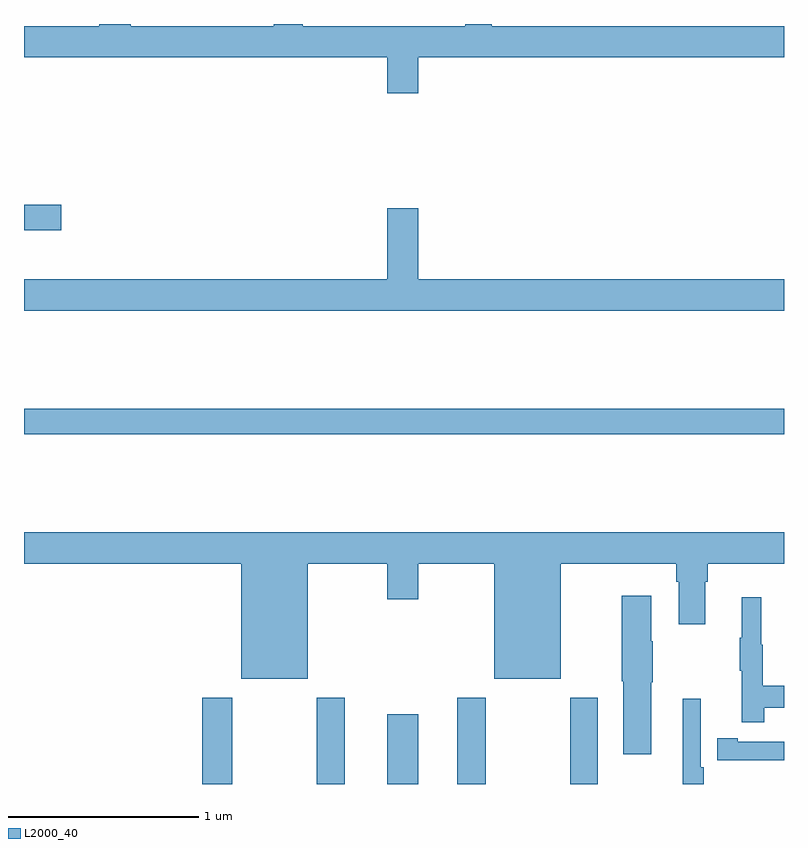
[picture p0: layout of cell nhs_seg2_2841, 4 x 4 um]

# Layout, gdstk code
import gdstk
lib = gdstk.Library(unit=1e-6, precision=1e-09)
def R(c, l, rs):  # rectangles x0, y0, x1, y1
    for r in rs: c.add(gdstk.rectangle(r[:2], r[2:], *l))
def P(c, l, *ps):  # polygons
    for p in ps: c.add(gdstk.Polygon(p, *l))
L2000_40 = (2000, 40)

nhs_seg2_2841 = lib.new_cell('nhs_seg2_2841')
R(nhs_seg2_2841, L2000_40, [(259.937,655.8,260.097,656.254), (260.541,655.8,260.689,656.254), (260.912,655.8,261.076,656.167), (261.281,655.8,261.429,656.254), (261.874,655.8,262.021,656.254), (259,657.64,263,657.776), (259,658.715,259.195,658.85)])
P(nhs_seg2_2841, L2000_40, [(261.076,659.624),(263,659.624),(263,659.788),(261.462,659.788),(261.462,659.8),(261.323,659.8),(261.323,659.788),(260.467,659.788),(260.467,659.8),(260.315,659.8),(260.315,659.788),(259.562,659.788),(259.562,659.8),(259.397,659.8),(259.397,659.788),(259,659.788),(259,659.624),(260.912,659.624),(260.912,659.436),(261.076,659.436)],
  [(263,658.456),(261.076,658.456),(261.076,658.831),(260.912,658.831),(260.912,658.456),(259,658.456),(259,658.292),(263,658.292)],
  [(260.494,656.96),(260.912,656.96),(260.912,656.772),(261.076,656.772),(261.076,656.96),(261.476,656.96),(261.476,656.354),(261.826,656.354),(261.826,656.96),(262.433,656.96),(262.433,656.864),(262.445,656.864),(262.445,656.64),(262.585,656.64),(262.585,656.864),(262.598,656.864),(262.598,656.96),(263,656.96),(263,657.124),(259,657.124),(259,656.96),(260.144,656.96),(260.144,656.354),(260.494,656.354)],
  [(262.3,656.335),(262.308,656.335),(262.308,656.552),(262.3,656.552),(262.3,656.791),(262.147,656.791),(262.147,656.341),(262.154,656.341),(262.154,655.956),(262.3,655.956)],
  [(262.895,656.202),(263,656.202),(263,656.318),(262.888,656.318),(262.888,656.532),(262.88,656.532),(262.88,656.782),(262.778,656.782),(262.778,656.569),(262.767,656.569),(262.767,656.395),(262.778,656.395),(262.778,656.124),(262.895,656.124)],
  [(262.577,655.888),(262.563,655.888),(262.563,656.248),(262.466,656.248),(262.466,655.8),(262.577,655.8)],
  [(263,656.022),(262.756,656.022),(262.756,656.042),(262.648,656.042),(262.648,655.926),(262.756,655.926),(262.756,655.925),(263,655.925)])

lib.write_gds('nhs_seg2_2841.gds')
